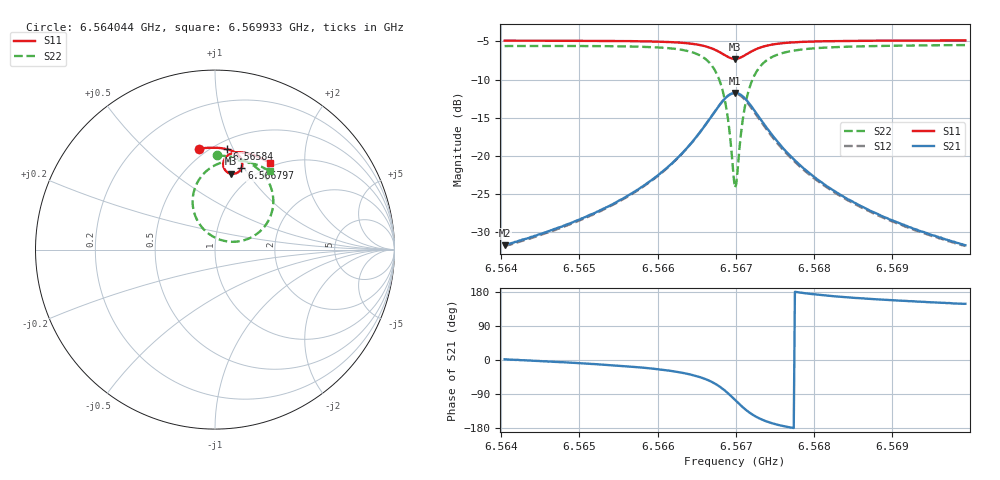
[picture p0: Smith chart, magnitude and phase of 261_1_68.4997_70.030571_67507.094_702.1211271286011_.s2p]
#  HZ  S  RI  R  50.00
! Rohde & Schwarz Vector Network Analyzer
! Rohde-Schwarz,ZNB20-2Port,1311601062101988,3.16
! Created: UTC 3/20/2024, 5:00:15 PM
! freq[Hz]  re:S11  im:S11  re:S21  im:S21  re:S12  im:S12  re:S22  im:S22
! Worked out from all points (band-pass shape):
!   401 points, 6.564044 GHz to 6.569933 GHz, reference 50 ohm
!   highest |S21| = -11.75 dB at 6.566989 GHz (marker M1); lowest = -31.8 dB at 6.564044 GHz (marker M2)
!   |S21| within 3 dB of the highest: 6.566694 GHz to 6.567284 GHz (590 kHz wide, 0.00898 % of centre)
!   lowest |S11| = -7.3 dB at 6.566989 GHz (marker M3), VSWR 2.52, Z = 40.2 + j41.8 ohm
!   |S11| at or under -10 dB: nowhere
!   |S22| runs from -24.2 to -5.5 dB; largest |S21 - S12| = 0.012
!   S11 on the Smith chart (normalised r, x): 6.564044 GHz: 0.45, +0.75; 6.56584 GHz: 0.58, +0.94; 6.566797 GHz: 0.83, +0.97; 6.569933 GHz: 0.94, +1.35
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6.5640441e9  -0.0867 0.5624  0.0258 0.000839  0.0254 0.00026  0.0118 0.5245
6.5650305e9  -0.0072 0.5681  0.0383 -0.00596  0.0375 -0.0065  0.1014 0.5151
6.5658403e9  0.0652 0.5596  0.0601 -0.0229  0.0593 -0.0237  0.1971 0.4794
6.566017e9  0.0831 0.5545  0.0684 -0.0314  0.0672 -0.0321  0.224 0.462
6.5663262e9  0.1169 0.5379  0.087 -0.0592  0.0858 -0.0604  0.2793 0.4071
6.566547e9  0.1417 0.5128  0.1005 -0.1028  0.0985 -0.1046  0.3187 0.3227
6.5666942e9  0.1521 0.4825  0.0969 -0.1554  0.093 -0.1581  0.32 0.2222
6.5667973e9  0.1474 0.4536  0.0711 -0.205  0.0648 -0.2076  0.2762 0.129
6.5668856e9  0.1276 0.4302  0.0203 -0.2433  0.011 -0.2438  0.1841 0.0598
6.5669151e9  0.1173 0.425  -0.00297 -0.2509  -0.0132 -0.2501  0.142 0.0474
6.5669592e9  0.0998 0.4216  -0.0418 -0.2538  -0.0522 -0.2504  0.0733 0.045
6.5669887e9  0.0877 0.4227  -0.068 -0.2493  -0.0782 -0.2441  0.0274 0.0553
6.5670181e9  0.0761 0.4267  -0.0929 -0.2399  -0.1022 -0.2328  -0.015 0.0748
6.567077e9  0.0575 0.4413  -0.1333 -0.2087  -0.1399 -0.1994  -0.0807 0.1343
6.5671212e9  0.0493 0.4557  -0.153 -0.1796  -0.157 -0.1695  -0.1099 0.1876
6.5671801e9  0.0457 0.4755  -0.1653 -0.1405  -0.1666 -0.1308  -0.1245 0.257
6.5672684e9  0.0513 0.5004  -0.1638 -0.0914  -0.1625 -0.0837  -0.1124 0.3417
6.5675334e9  0.0908 0.5357  -0.1217 -0.0194  -0.119 -0.0161  -0.0167 0.4607
6.5679751e9  0.1471 0.5423  -0.0738 0.0078  -0.072 0.00898  0.0974 0.4963
6.5684021e9  0.1889 0.5345  -0.0512 0.0131  -0.0501 0.0136  0.1643 0.4924
6.5689616e9  0.2352 0.5186  -0.0354 0.0142  -0.0347 0.0145  0.2265 0.4755
6.5699333e9  0.3051 0.4826  -0.022 0.0135  -0.0215 0.0138  0.3067 0.4355
